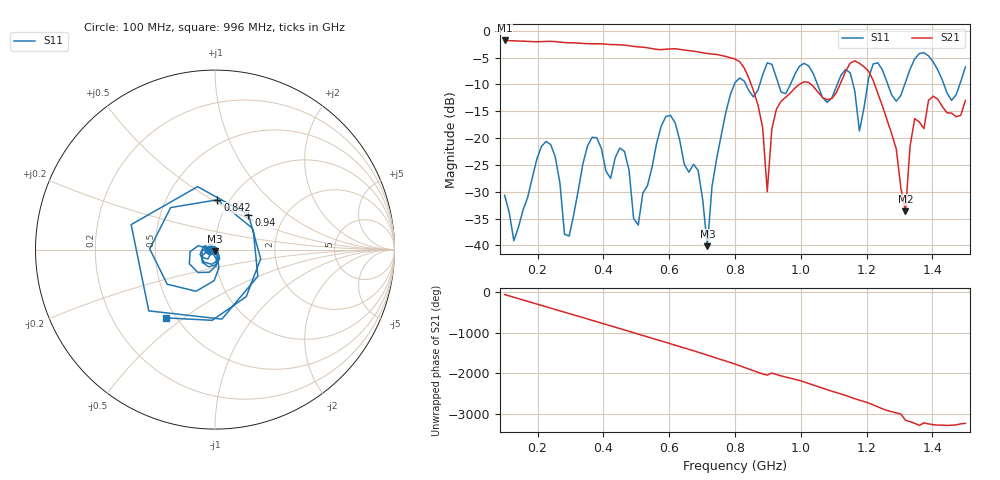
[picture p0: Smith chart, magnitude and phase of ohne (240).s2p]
! NanoVNA-App
! Date: 2025-09-25 14:22:40
! Start: 100MHz Stop: 1,5GHz Points: 101
! S-Parameter data: F S11 S21 S12 S22
# Hz S RI R 50
!  Frequency  S11_Real  S11_Imag  S21_Real  S21_Imag  S12_Real  S12_Imag  S22_Real  S22_Imag
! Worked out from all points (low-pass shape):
!   101 points, 100 MHz to 1.5 GHz, reference 50 ohm
!   highest |S21| = -1.79 dB at 100 MHz (marker M1); lowest = -33.6 dB at 1.318 GHz (marker M2)
!   |S21| within 3 dB of the highest: start of sweep to 772.8 MHz
!   lowest |S11| = -40.1 dB at 716 MHz (marker M3), VSWR 1.02, Z = 49.8 - j0.955 ohm
!   |S11| at or under -10 dB: start of sweep to 797.9 MHz; 833.1 MHz to 875.1 MHz (41.98 MHz wide, 4.92 % of centre); 1.051 GHz to 1.111 GHz (59.96 MHz wide, 5.55 % of centre) (the widest 3 of 7)
!   S12 and S22 are empty: the file has one direction only
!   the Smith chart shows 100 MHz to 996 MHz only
!   S11 on the Smith chart (normalised r, x): 100 MHz: 0.94, -0.01; 842 MHz: 0.88, +0.53; 940 MHz: 1.33, +0.56; 996 MHz: 0.44, -0.43
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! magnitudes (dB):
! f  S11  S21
! 100 MHz  -30.6  -1.8
! 128 MHz  -39.1  -1.9
! 226 MHz  -20.6  -2.0
! 296 MHz  -38.2  -2.2
! 338 MHz  -24.7  -2.3
! 464 MHz  -22.5  -2.7
! 506 MHz  -36.2  -3.0
! 576 MHz  -17.7  -3.5
! 688 MHz  -26.0  -3.9
! 716 MHz  -40.1  -4.2
! 800 MHz  -9.7  -5.2
! 842 MHz  -11.1  -8.8
! 898 MHz  -6.0  -30.0
! 940 MHz  -11.4  -13.1
! 996 MHz  -6.6  -10.0
! 1.038 GHz  -8.0  -10.4
! 1.178 GHz  -18.7  -6.1
! 1.22 GHz  -6.2  -9.2
! 1.276 GHz  -11.9  -19.2
! 1.318 GHz  -9.6  -33.6
! 1.346 GHz  -5.2  -16.4
! 1.5 GHz  -6.7  -12.9
